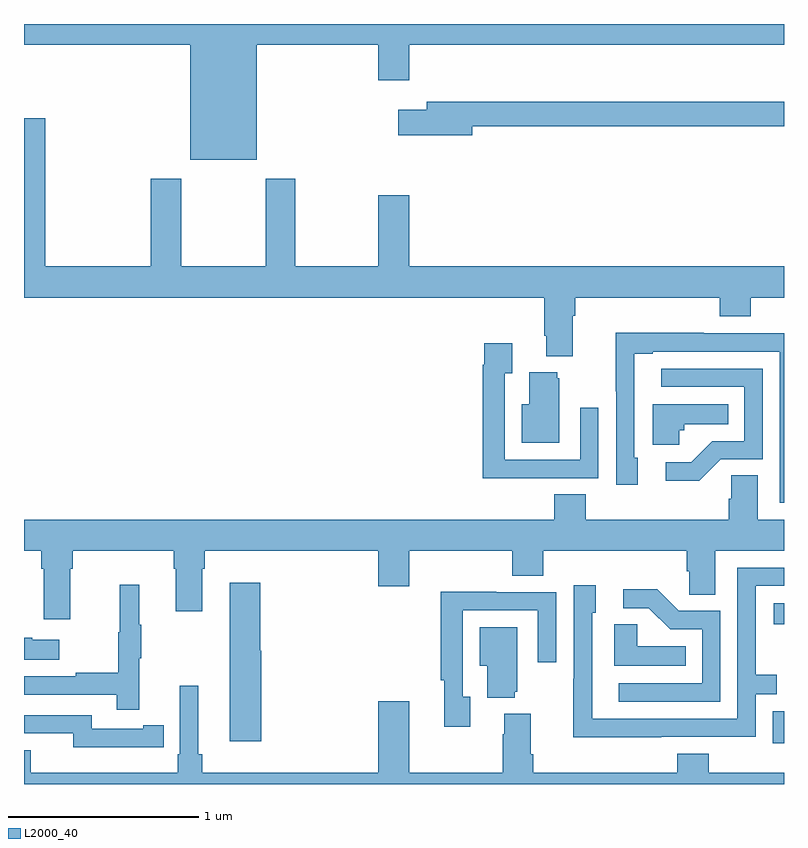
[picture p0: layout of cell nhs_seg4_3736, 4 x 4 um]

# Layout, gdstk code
import gdstk
lib = gdstk.Library(unit=1e-6, precision=1e-09)
def R(c, l, rs):  # rectangles x0, y0, x1, y1
    for r in rs: c.add(gdstk.rectangle(r[:2], r[2:], *l))
def P(c, l, *ps):  # polygons
    for p in ps: c.add(gdstk.Polygon(p, *l))
L2000_40 = (2000, 40)

nhs_seg4_3736 = lib.new_cell('nhs_seg4_3736')
R(nhs_seg4_3736, L2000_40, [(310.941,821.115,311,821.283), (310.947,821.741,311,821.851)])
P(nhs_seg4_3736, L2000_40, [(308.224,824.792),(308.864,824.792),(308.864,824.604),(309.028,824.604),(309.028,824.792),(311,824.792),(311,824.9),(307,824.9),(307,824.792),(307.874,824.792),(307.874,824.186),(308.224,824.186)],
  [(309.358,824.362),(311,824.362),(311,824.491),(309.119,824.491),(309.119,824.449),(308.97,824.449),(308.97,824.315),(309.358,824.315)],
  [(309.889,823.364),(309.902,823.364),(309.902,823.46),(310.661,823.46),(310.661,823.361),(310.826,823.361),(310.826,823.46),(311,823.46),(311,823.624),(309.028,823.624),(309.028,823.999),(308.864,823.999),(308.864,823.624),(308.427,823.624),(308.427,824.086),(308.272,824.086),(308.272,823.624),(307.827,823.624),(307.827,824.086),(307.667,824.086),(307.667,823.624),(307.112,823.624),(307.112,824.404),(307,824.404),(307,823.46),(309.737,823.46),(309.737,823.258),(309.749,823.258),(309.749,823.151),(309.889,823.151)],
  [(311,823.272),(310.577,823.272),(310.577,823.274),(310.114,823.274),(310.114,822.967),(310.116,822.967),(310.116,822.474),(310.231,822.474),(310.231,822.618),(310.212,822.618),(310.212,823.164),(310.309,823.164),(310.309,823.176),(310.977,823.176),(310.977,822.381),(311,822.381)],
  [(309.707,822.51),(310.023,822.51),(310.023,822.88),(309.927,822.88),(309.927,822.606),(309.531,822.606),(309.531,823.063),(309.571,823.063),(309.571,823.219),(309.423,823.219),(309.423,823.106),(309.415,823.106),(309.415,822.509),(309.707,822.509)],
  [(310.668,822.609),(310.887,822.609),(310.887,823.086),(310.353,823.086),(310.353,822.99),(310.791,822.99),(310.791,822.705),(310.622,822.705),(310.511,822.594),(310.377,822.594),(310.377,822.497),(310.555,822.497)],
  [(309.817,823.035),(309.806,823.035),(309.806,823.066),(309.659,823.066),(309.659,822.898),(309.62,822.898),(309.62,822.695),(309.817,822.695)],
  [(310.449,822.762),(310.476,822.762),(310.476,822.794),(310.706,822.794),(310.706,822.898),(310.31,822.898),(310.31,822.686),(310.449,822.686)],
  [(307.243,822.032),(307.256,822.032),(307.256,822.128),(307.787,822.128),(307.787,822.032),(307.799,822.032),(307.799,821.808),(307.939,821.808),(307.939,822.032),(307.952,822.032),(307.952,822.128),(308.864,822.128),(308.864,821.94),(309.028,821.94),(309.028,822.128),(309.569,822.128),(309.569,821.995),(309.734,821.995),(309.734,822.128),(310.487,822.128),(310.487,822.019),(310.5,822.019),(310.5,821.896),(310.639,821.896),(310.639,822.128),(311,822.128),(311,822.292),(310.861,822.292),(310.861,822.524),(310.722,822.524),(310.722,822.401),(310.709,822.401),(310.709,822.292),(309.956,822.292),(309.956,822.425),(309.791,822.425),(309.791,822.292),(307,822.292),(307,822.128),(307.091,822.128),(307.091,822.032),(307.103,822.032),(307.103,821.766),(307.243,821.766)],
  [(310.355,821.148),(310.851,821.148),(310.851,821.373),(310.961,821.373),(310.961,821.474),(310.851,821.474),(310.851,821.943),(311,821.943),(311,822.039),(310.755,822.039),(310.755,821.244),(309.99,821.244),(309.99,821.802),(310.009,821.802),(310.009,821.947),(309.894,821.947),(309.894,821.453),(309.892,821.453),(309.892,821.147),(310.355,821.147)],
  [(308.248,821.601),(308.243,821.601),(308.243,821.959),(308.084,821.959),(308.084,821.124),(308.248,821.124)],
  [(307.607,821.563),(307.618,821.563),(307.618,821.737),(307.607,821.737),(307.607,821.95),(307.504,821.95),(307.504,821.7),(307.497,821.7),(307.497,821.486),(307.273,821.486),(307.273,821.466),(307,821.466),(307,821.37),(307.489,821.37),(307.489,821.292),(307.607,821.292)],
  [(310.665,821.811),(310.446,821.811),(310.333,821.924),(310.155,821.924),(310.155,821.826),(310.289,821.826),(310.4,821.715),(310.569,821.715),(310.569,821.43),(310.131,821.43),(310.131,821.334),(310.665,821.334)],
  [(309.349,821.358),(309.309,821.358),(309.309,821.814),(309.705,821.814),(309.705,821.541),(309.801,821.541),(309.801,821.91),(309.485,821.91),(309.485,821.912),(309.193,821.912),(309.193,821.446),(309.212,821.446),(309.212,821.202),(309.349,821.202)],
  [(310.484,821.626),(310.227,821.626),(310.227,821.741),(310.106,821.741),(310.106,821.522),(310.484,821.522)],
  [(309.584,821.385),(309.595,821.385),(309.595,821.725),(309.398,821.725),(309.398,821.522),(309.437,821.522),(309.437,821.354),(309.584,821.354)],
  [(307.186,821.659),(307.043,821.659),(307.043,821.669),(307,821.669),(307,821.555),(307.186,821.555)],
  [(311,820.96),(310.604,820.96),(310.604,821.059),(310.439,821.059),(310.439,820.96),(309.68,820.96),(309.68,821.056),(309.667,821.056),(309.667,821.269),(309.527,821.269),(309.527,821.162),(309.52,821.162),(309.52,820.96),(309.028,820.96),(309.028,821.335),(308.864,821.335),(308.864,820.96),(307.937,820.96),(307.937,821.056),(307.918,821.056),(307.918,821.416),(307.821,821.416),(307.821,821.056),(307.808,821.056),(307.808,820.96),(307.036,820.96),(307.036,821.077),(307,821.077),(307,820.9),(311,820.9)],
  [(307.628,821.094),(307.736,821.094),(307.736,821.21),(307.628,821.21),(307.628,821.19),(307.356,821.19),(307.356,821.262),(307,821.262),(307,821.166),(307.26,821.166),(307.26,821.093),(307.628,821.093)])

lib.write_gds('nhs_seg4_3736.gds')
